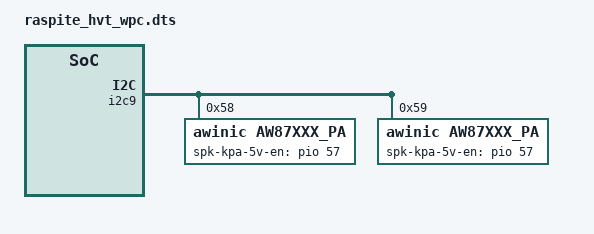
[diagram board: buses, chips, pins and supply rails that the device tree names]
// SPDX-License-Identifier: GPL-2.0
/*
 * Copyright (c) 2022 Amazon.com, Inc. or its affiliates. All Rights Reserved.
 */

/dts-v1/;
/plugin/;

#define RASPITE_HVT
#define RASPITE_WPC
#include "raspite.dtsi"

&chosen {
	version = "hvt";
};

&pio {
	ovp_en0: ovp_en0 {
		pins_cmd_dat {
			pinmux = <PINMUX_GPIO51__FUNC_GPIO51>;
			slew-rate = <1>;
			output-low;
		};
	};

	ovp_en1: ovp_en1 {
		pins_cmd_dat {
			pinmux = <PINMUX_GPIO51__FUNC_GPIO51>;
			slew-rate = <1>;
			output-high;
		};
	};
};

&i2c9 {
	aw87xxx_pa@58 {
		compatible = "awinic,aw87xxx_pa";
		spk-kpa-5v-en-gpios = <&pio 57 GPIO_ACTIVE_HIGH>;
		reg = <0x58>;
		dev_index = <0>;
		status = "okay";
	};

	aw87xxx_pa@59 {
		compatible = "awinic,aw87xxx_pa";
		spk-kpa-5v-en-gpios = <&pio 57 GPIO_ACTIVE_HIGH>;
		reg = <0x59>;
		dev_index = <1>;
		status = "okay";
	};
};

&mt6370_chg {
	enable_iaicr_cal;
};

&thermal_zones {
	mux_9221 {
		status = "okay";
	};

	p9221_sensor {
		status = "okay";
	};

	Wireless {
		status = "okay";
	};
};
